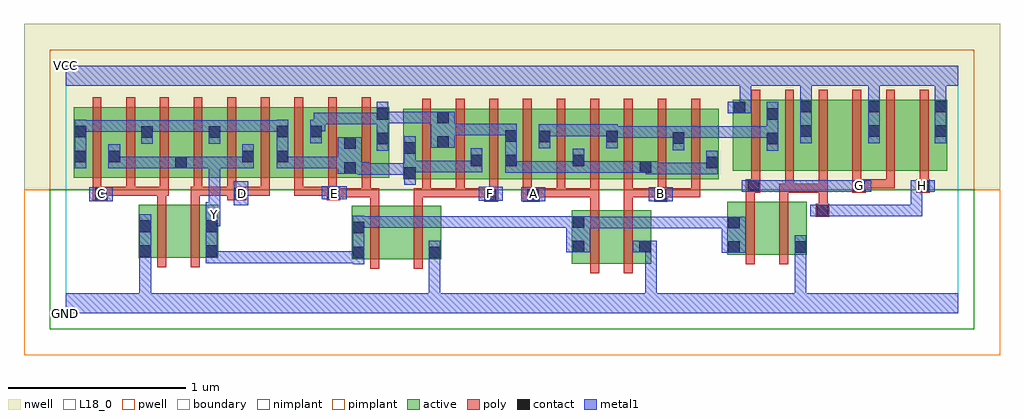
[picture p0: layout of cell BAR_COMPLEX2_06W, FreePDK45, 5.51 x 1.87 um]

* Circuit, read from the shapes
.subckt BAR_COMPLEX2_06W A B C D E F G GND H VCC Y
M1 n1 C GND VSUBS nfet w=0.3u l=0.05u
M2 Y D n1 VSUBS nfet w=0.3u l=0.05u
M3 n2 E Y VSUBS nfet w=0.3u l=0.05u
M4 GND F n2 VSUBS nfet w=0.3u l=0.05u
M5 n3 A Y VSUBS nfet w=0.3u l=0.05u
M6 GND B n3 VSUBS nfet w=0.3u l=0.05u
M7 n4 G Y VSUBS nfet w=0.3u l=0.05u
M8 GND H n4 VSUBS nfet w=0.3u l=0.05u
M9 Y C n5 n6 pfet w=0.4u l=0.05u m=3
M10 n5 D Y n6 pfet w=0.4u l=0.05u m=3
M11 n7 E n5 n6 pfet w=0.4u l=0.05u m=3
M12 n7 F n5 n6 pfet w=0.4u l=0.05u m=3
M13 n8 A n7 n6 pfet w=0.4u l=0.05u m=3
M14 n7 B n8 n6 pfet w=0.4u l=0.05u m=3
M15 n8 G VCC n6 pfet w=0.4u l=0.05u
M16 VCC H n8 n6 pfet w=0.4u l=0.05u
M17 n9 H VCC n6 pfet w=0.4u l=0.05u
M18 VCC G n9 n6 pfet w=0.4u l=0.05u
M19 n10 G VCC n6 pfet w=0.4u l=0.05u
M20 VCC H n10 n6 pfet w=0.4u l=0.05u
.ends

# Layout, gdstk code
import gdstk
lib = gdstk.Library(unit=1e-6, precision=1e-09)
def R(c, l, rs):  # rectangles x0, y0, x1, y1
    for r in rs: c.add(gdstk.rectangle(r[:2], r[2:], *l))
def A(c, l, x, y, w, h, nx, ny, dx, dy):  # array of equal rectangles
    R(c, l, [(x+i*dx, y+j*dy, x+i*dx+w, y+j*dy+h) for i in range(nx) for j in range(ny)])
active = (1, 0)
pwell = (2, 0)
nwell = (3, 0)
nimplant = (4, 0)
pimplant = (5, 0)
poly = (9, 0)
contact = (10, 0)
metal1 = (11, 0)
L18_0 = (18, 0)
boundary = (235, 0)

bar_complex2_06w = lib.new_cell('BAR_COMPLEX2_06W')
A(bar_complex2_06w, active, 2.477, 0.757, 0.265, 0.4, 3, 1, 0.19, 0)
R(bar_complex2_06w, active, [(2.857,0.282,3.082,0.582), (3.082,0.282,3.307,0.582), (3.232,0.282,3.307,0.582), (1.615,0.307,1.84,0.607), (1.615,0.307,1.69,0.607), (1.84,0.307,2.12,0.607), (2.045,0.307,2.12,0.607), (0.412,0.315,0.637,0.615), (0.412,0.315,0.487,0.615), (0.637,0.315,0.862,0.615), (0.787,0.315,0.862,0.615), (3.735,0.332,3.96,0.632), (3.735,0.332,3.81,0.632), (3.96,0.332,4.185,0.632), (4.11,0.337,4.185,0.632), (2.857,0.34,2.932,0.582), (1.907,0.757,2.167,1.157), (1.907,0.757,1.982,1.07), (2.092,0.757,2.357,1.157), (2.282,0.757,2.357,1.07), (2.282,0.757,2.552,1.157), (2.477,0.757,2.552,1.155), (2.857,0.757,2.932,1.07), (3.047,0.757,3.31,1.157), (3.235,0.757,3.497,1.157), (3.235,0.757,3.31,1.07), (3.422,0.757,3.687,1.157), (3.612,0.757,3.687,1.047), (0.047,0.765,0.312,1.165), (0.047,0.765,0.122,1.155), (0.237,0.765,0.497,1.165), (0.237,0.765,0.312,1.07), (0.422,0.765,0.69,1.165), (0.615,0.765,0.877,1.165), (0.615,0.765,0.69,1.07), (0.802,0.765,1.067,1.165), (0.992,0.765,1.262,1.165), (0.992,0.765,1.067,1.07), (1.187,0.765,1.452,1.165), (1.187,0.765,1.262,1.155), (1.377,0.765,1.642,1.165), (1.567,0.765,1.827,1.165), (1.752,0.765,1.827,1.165), (1.567,0.785,1.642,1.07), (3.767,0.807,4.027,1.207), (3.952,0.807,4.217,1.207), (4.142,0.807,4.372,1.207), (4.372,0.807,4.602,1.207), (4.527,0.807,4.752,1.207), (4.752,0.807,4.977,1.207), (4.902,0.807,4.977,1.207), (0.422,0.907,0.497,1.155), (0.802,0.907,0.877,1.155), (1.377,0.907,1.452,1.155), (2.092,0.907,2.167,1.155), (2.667,0.907,2.742,1.155), (3.047,0.907,3.122,1.155), (3.422,0.907,3.497,1.155), (3.767,0.907,3.842,1.207), (3.952,0.907,4.027,1.2), (4.142,0.907,4.217,1.207), (4.527,0.907,4.602,1.207)])
R(bar_complex2_06w, pwell, [(-0.235,-0.235,5.275,0.7)])
R(bar_complex2_06w, nwell, [(-0.235,0.7,5.275,1.635)])
R(bar_complex2_06w, nimplant, [(-0.09,-0.09,5.13,0.7)])
R(bar_complex2_06w, pimplant, [(-0.09,0.7,5.13,1.49)])
A(bar_complex2_06w, poly, 2.012, 0.657, 0.05, 0.095, 9, 1, 0.19, 0)
A(bar_complex2_06w, poly, 0.152, 0.665, 0.05, 0.095, 8, 1, 0.19, 0)
A(bar_complex2_06w, poly, 2.012, 0.702, 0.05, 0.51, 9, 1, 0.19, 0)
A(bar_complex2_06w, poly, 4.442, 0.707, 0.05, 0.095, 3, 1, 0.19, 0)
A(bar_complex2_06w, poly, 0.152, 0.71, 0.05, 0.51, 9, 1, 0.19, 0)
A(bar_complex2_06w, poly, 3.872, 0.752, 0.05, 0.51, 6, 1, 0.19, 0)
R(bar_complex2_06w, poly, [(2.962,0.227,3.012,0.637), (3.152,0.227,3.202,0.637), (1.72,0.252,1.77,0.662), (1.965,0.252,2.015,0.662), (0.517,0.26,0.567,0.67), (0.707,0.26,0.757,0.67), (3.84,0.277,3.89,0.687), (4.03,0.277,4.08,0.687), (4.235,0.545,4.31,0.62), (4.252,0.57,4.302,0.62), (4.252,0.57,4.302,0.62), (4.252,0.57,4.302,0.732), (2.962,0.587,3.012,0.707), (3.152,0.587,3.202,0.707), (1.72,0.612,1.77,0.707), (1.965,0.612,2.015,0.707), (0.517,0.62,0.567,0.715), (0.707,0.62,0.757,0.715), (2.362,0.632,2.442,0.707), (2.582,0.632,2.677,0.707), (3.322,0.632,3.397,0.707), (3.84,0.637,3.89,0.732), (4.03,0.637,4.08,0.732), (0.152,0.64,0.237,0.715), (0.912,0.64,1.02,0.715), (1.475,0.64,1.55,0.715), (1.5,0.657,1.722,0.707), (1.672,0.657,1.722,0.707), (1.672,0.657,1.722,0.707), (1.672,0.657,1.722,0.76), (1.672,0.657,1.77,0.707), (1.965,0.657,2.062,0.707), (2.012,0.657,2.062,0.707), (2.012,0.657,2.062,0.707), (2.012,0.657,2.252,0.707), (2.202,0.657,2.252,0.707), (2.202,0.657,2.252,0.707), (2.202,0.657,2.252,0.707), (2.202,0.657,2.412,0.707), (2.627,0.657,2.677,0.707), (2.627,0.657,2.677,0.707), (2.627,0.657,2.822,0.707), (2.772,0.657,2.822,0.707), (2.772,0.657,3.012,0.707), (2.962,0.657,3.012,0.707), (2.962,0.657,3.012,0.707), (2.962,0.657,3.012,0.707), (3.152,0.657,3.202,0.707), (3.152,0.657,3.202,0.707), (3.152,0.657,3.202,0.707), (3.152,0.657,3.372,0.707), (3.347,0.657,3.582,0.707), (3.532,0.657,3.582,0.707), (3.532,0.657,3.582,0.707), (3.532,0.657,3.582,0.707), (0.187,0.665,0.392,0.715), (0.342,0.665,0.392,0.715), (0.342,0.665,0.392,0.715), (0.342,0.665,0.392,0.715), (0.342,0.665,0.567,0.715), (0.517,0.665,0.567,0.715), (0.517,0.665,0.567,0.715), (0.517,0.665,0.582,0.715), (0.707,0.665,0.772,0.715), (0.722,0.665,0.772,0.715), (0.722,0.665,0.772,0.715), (0.722,0.665,0.962,0.715), (0.97,0.665,1.152,0.715), (1.102,0.665,1.152,0.715), (1.102,0.665,1.152,0.715), (1.102,0.665,1.152,0.715), (1.292,0.665,1.342,0.715), (1.292,0.665,1.342,0.715), (1.292,0.665,1.342,0.715), (1.292,0.665,1.525,0.715), (3.84,0.682,3.922,0.757), (4.03,0.682,4.112,0.732), (4.062,0.682,4.112,0.802), (4.062,0.682,4.302,0.732), (4.252,0.682,4.302,0.732), (4.252,0.682,4.302,0.732), (4.252,0.682,4.302,0.732), (4.252,0.682,4.302,0.802), (4.442,0.682,4.517,0.757), (4.802,0.682,4.877,0.757), (3.872,0.707,3.922,0.802), (4.467,0.707,4.682,0.757), (4.467,0.707,4.517,0.757), (4.467,0.707,4.517,0.757), (4.632,0.707,4.682,0.757)])
R(bar_complex2_06w, contact, [(1.62,0.312,1.685,0.377), (2.05,0.312,2.115,0.377), (0.417,0.32,0.482,0.385), (0.792,0.32,0.857,0.385), (3.74,0.342,3.805,0.407), (4.115,0.342,4.18,0.407), (2.862,0.345,2.927,0.41), (3.237,0.345,3.302,0.41), (1.62,0.452,1.685,0.517), (0.417,0.46,0.482,0.525), (0.792,0.46,0.857,0.525), (3.74,0.482,3.805,0.547), (2.862,0.485,2.927,0.55), (4.24,0.55,4.305,0.615), (2.367,0.637,2.432,0.702), (2.607,0.637,2.672,0.702), (3.327,0.637,3.392,0.702), (0.167,0.645,0.232,0.71), (0.95,0.645,1.015,0.71), (1.48,0.645,1.545,0.71), (3.852,0.687,3.917,0.752), (4.447,0.687,4.512,0.752), (4.807,0.687,4.872,0.752), (1.912,0.762,1.977,0.827), (1.572,0.79,1.637,0.855), (3.24,0.795,3.305,0.86), (0.62,0.82,0.685,0.885), (3.617,0.82,3.682,0.885), (2.482,0.83,2.547,0.895), (2.862,0.83,2.927,0.895), (2.287,0.832,2.352,0.897), (0.052,0.855,0.117,0.92), (0.242,0.855,0.307,0.92), (0.997,0.855,1.062,0.92), (1.192,0.855,1.257,0.92), (1.912,0.902,1.977,0.967), (1.572,0.93,1.637,0.995), (2.097,0.935,2.162,1), (1.757,0.955,1.822,1.02), (3.957,0.955,4.022,1.02), (3.427,0.957,3.492,1.022), (2.672,0.967,2.737,1.032), (3.052,0.967,3.117,1.032), (2.482,0.97,2.547,1.035), (0.427,0.992,0.492,1.057), (0.807,0.992,0.872,1.057), (0.052,0.995,0.117,1.06), (1.192,0.995,1.257,1.06), (1.382,0.995,1.447,1.06), (4.147,0.997,4.212,1.062), (4.532,0.997,4.597,1.062), (4.907,0.997,4.972,1.062), (2.097,1.075,2.162,1.14), (1.757,1.095,1.822,1.16), (3.957,1.095,4.022,1.16), (3.772,1.13,3.837,1.195), (4.147,1.137,4.212,1.202), (4.532,1.137,4.597,1.202), (4.907,1.137,4.972,1.202)])
R(bar_complex2_06w, metal1, [(0,0,5.04,0.115), (0.417,0.05,0.482,0.115), (0.417,0.05,0.482,0.115), (0.417,0.05,0.482,0.115), (0.417,0.05,0.482,0.115), (0.417,0.05,0.482,0.35), (2.05,0.05,2.115,0.115), (2.05,0.05,2.115,0.115), (2.05,0.05,2.115,0.342), (3.272,0.05,3.337,0.41), (4.115,0.05,4.18,0.115), (4.115,0.05,4.18,0.115), (4.115,0.05,4.18,0.115), (4.115,0.05,4.18,0.115), (4.115,0.05,4.18,0.372), (1.62,0.277,1.685,0.552), (2.05,0.277,2.115,0.342), (2.05,0.277,2.115,0.342), (2.05,0.277,2.115,0.412), (0.417,0.285,0.482,0.56), (0.792,0.285,0.857,0.56), (0.792,0.285,0.857,0.35), (0.792,0.285,0.857,0.35), (0.792,0.285,1.12,0.35), (1.055,0.285,1.12,0.35), (1.055,0.285,1.12,0.35), (1.055,0.285,1.12,0.35), (1.055,0.285,1.257,0.35), (1.192,0.285,1.257,0.35), (1.192,0.285,1.257,0.35), (1.192,0.285,1.257,0.35), (1.192,0.285,1.395,0.35), (1.33,0.285,1.395,0.35), (1.33,0.285,1.577,0.35), (1.512,0.285,1.577,0.35), (1.512,0.285,1.685,0.35), (4.115,0.307,4.18,0.442), (3.705,0.342,3.84,0.547), (2.827,0.345,2.962,0.55), (3.202,0.345,3.337,0.41), (3.272,0.345,3.337,0.41), (3.272,0.345,3.337,0.41), (3.272,0.345,3.337,0.41), (3.272,0.345,3.337,0.41), (2.897,0.482,2.962,0.547), (2.897,0.482,2.962,0.547), (2.897,0.482,3.13,0.547), (3.065,0.482,3.13,0.547), (3.065,0.482,3.13,0.547), (3.065,0.482,3.13,0.547), (3.065,0.482,3.34,0.547), (3.275,0.482,3.34,0.547), (3.275,0.482,3.34,0.547), (3.275,0.482,3.34,0.547), (3.275,0.482,3.492,0.547), (3.427,0.482,3.492,0.547), (3.427,0.482,3.63,0.547), (3.565,0.482,3.63,0.547), (3.565,0.482,3.63,0.547), (3.565,0.482,3.63,0.547), (3.565,0.482,3.77,0.547), (1.62,0.485,1.822,0.55), (1.757,0.485,1.822,0.55), (1.757,0.485,1.822,0.55), (1.757,0.485,1.822,0.55), (1.757,0.485,1.977,0.55), (1.912,0.485,1.977,0.55), (1.912,0.485,1.977,0.55), (1.912,0.485,1.977,0.55), (1.912,0.485,2.215,0.55), (2.15,0.485,2.215,0.55), (2.15,0.485,2.215,0.55), (2.15,0.485,2.215,0.55), (2.15,0.485,2.41,0.55), (2.345,0.485,2.41,0.55), (2.345,0.485,2.41,0.55), (2.345,0.485,2.41,0.55), (2.345,0.485,2.547,0.55), (2.482,0.485,2.547,0.55), (2.482,0.485,2.547,0.55), (2.482,0.485,2.547,0.55), (2.482,0.485,2.685,0.55), (2.62,0.485,2.685,0.55), (2.62,0.485,2.825,0.55), (2.76,0.485,2.825,0.55), (2.76,0.485,2.892,0.55), (0.792,0.492,0.857,0.557), (0.792,0.492,0.872,0.627), (4.205,0.55,4.34,0.615), (4.275,0.55,4.407,0.615), (4.342,0.55,4.407,0.615), (4.342,0.55,4.407,0.615), (4.342,0.55,4.407,0.615), (4.342,0.55,4.51,0.615), (4.445,0.55,4.51,0.615), (4.445,0.55,4.647,0.615), (4.582,0.55,4.647,0.615), (4.582,0.55,4.647,0.615), (4.582,0.55,4.647,0.615), (4.582,0.55,4.835,0.615), (4.77,0.55,4.835,0.752), (4.77,0.55,4.835,0.615), (0.807,0.562,0.872,0.885), (0.95,0.61,1.032,0.747), (0.132,0.635,0.267,0.712), (2.572,0.635,2.707,0.712), (3.292,0.635,3.427,0.712), (2.332,0.637,2.467,0.715), (1.445,0.645,1.587,0.717), (3.817,0.687,3.952,0.752), (3.887,0.687,3.957,0.752), (3.892,0.687,3.957,0.752), (3.892,0.687,4.132,0.752), (4.067,0.687,4.132,0.752), (4.067,0.687,4.27,0.752), (4.205,0.687,4.27,0.752), (4.205,0.687,4.27,0.752), (4.205,0.687,4.27,0.752), (4.205,0.687,4.407,0.752), (4.342,0.687,4.477,0.752), (4.342,0.687,4.407,0.752), (4.412,0.687,4.547,0.752), (4.77,0.687,4.837,0.752), (4.77,0.687,4.835,0.752), (4.772,0.687,4.907,0.752), (1.912,0.727,1.977,1.002), (1.65,0.782,1.822,0.847), (1.65,0.782,1.715,0.855), (1.757,0.782,1.822,0.847), (1.757,0.782,1.977,0.847), (3.275,0.785,3.477,0.85), (3.275,0.785,3.34,0.86), (3.412,0.785,3.477,0.85), (3.412,0.785,3.477,0.85), (3.412,0.785,3.477,0.85), (3.412,0.785,3.682,0.85), (3.617,0.785,3.682,0.92), (1.537,0.79,1.672,0.995), (1.607,0.79,1.715,0.855), (2.482,0.795,2.547,1.07), (2.482,0.795,2.547,0.86), (2.482,0.795,2.547,0.86), (2.482,0.795,2.687,0.86), (2.622,0.795,2.687,0.86), (2.622,0.795,2.687,0.86), (2.622,0.795,2.687,0.86), (2.622,0.795,2.825,0.86), (2.76,0.795,2.825,0.86), (2.76,0.795,2.927,0.86), (2.862,0.795,2.927,0.93), (2.862,0.795,2.962,0.86), (2.897,0.795,2.962,0.86), (2.897,0.795,3.13,0.86), (3.065,0.795,3.13,0.86), (3.065,0.795,3.13,0.86), (3.065,0.795,3.13,0.86), (3.065,0.795,3.27,0.86), (3.205,0.795,3.34,0.86), (3.275,0.795,3.34,0.86), (1.912,0.797,1.977,0.862), (1.912,0.797,1.977,0.862), (1.912,0.797,2.115,0.862), (2.05,0.797,2.115,0.862), (2.05,0.797,2.115,0.862), (2.05,0.797,2.115,0.862), (2.05,0.797,2.352,0.862), (2.287,0.797,2.352,0.932), (0.052,0.82,0.117,1.095), (0.242,0.82,0.307,0.885), (0.242,0.82,0.307,0.885), (0.242,0.82,0.307,0.955), (0.242,0.82,0.512,0.885), (0.447,0.82,0.512,0.885), (0.447,0.82,0.512,0.885), (0.447,0.82,0.512,0.885), (0.447,0.82,0.65,0.885), (0.585,0.82,0.72,0.885), (0.655,0.82,0.72,0.885), (0.655,0.82,0.72,0.885), (0.655,0.82,0.872,0.885), (0.807,0.82,0.872,0.885), (0.807,0.82,0.872,0.885), (0.807,0.82,0.872,0.885), (0.807,0.82,1.062,0.885), (0.997,0.82,1.062,0.955), (1.192,0.82,1.257,1.095), (1.192,0.82,1.257,0.885), (1.192,0.82,1.257,0.885), (1.192,0.82,1.257,0.885), (1.192,0.82,1.257,0.885), (1.192,0.82,1.395,0.885), (1.33,0.82,1.395,0.885), (1.33,0.82,1.577,0.885), (1.512,0.82,1.577,0.885), (1.512,0.82,1.602,0.885), (1.757,0.92,1.822,1.195), (3.957,0.92,4.022,1.195), (3.427,0.922,3.492,1.057), (2.672,0.932,2.737,1.067), (3.052,0.932,3.117,1.067), (2.062,0.935,2.197,1.14), (0.427,0.957,0.492,1.092), (0.807,0.957,0.872,1.092), (1.382,0.96,1.447,1.095), (4.147,0.962,4.212,1.237), (4.532,0.962,4.597,1.237), (4.907,0.962,4.972,1.237), (3.052,0.992,3.117,1.057), (3.052,0.992,3.117,1.057), (3.052,0.992,3.267,1.057), (3.202,0.992,3.267,1.057), (3.202,0.992,3.267,1.057), (3.202,0.992,3.267,1.057), (3.202,0.992,3.492,1.057), (3.427,0.992,3.492,1.057), (3.427,0.992,3.492,1.057), (3.427,0.992,3.63,1.057), (3.565,0.992,3.63,1.057), (3.565,0.992,3.82,1.057), (3.755,0.992,3.82,1.057), (3.755,0.992,3.82,1.057), (3.755,0.992,3.82,1.057), (3.755,0.992,3.82,1.057), (3.755,0.992,3.82,1.057), (3.755,0.992,4.022,1.057), (2.672,1.002,2.825,1.067), (2.76,1.002,2.825,1.067), (2.76,1.002,2.98,1.067), (2.915,1.002,2.98,1.067), (2.915,1.002,2.98,1.067), (2.915,1.002,2.98,1.067), (2.915,1.002,3.117,1.067), (2.132,1.005,2.197,1.07), (2.132,1.005,2.197,1.07), (2.132,1.005,2.41,1.07), (2.345,1.005,2.41,1.07), (2.345,1.005,2.41,1.07), (2.345,1.005,2.41,1.07), (2.345,1.005,2.547,1.07), (0.052,1.027,0.117,1.092), (0.052,1.027,0.117,1.092), (0.052,1.027,0.345,1.092), (0.28,1.027,0.345,1.092), (0.28,1.027,0.345,1.092), (0.28,1.027,0.345,1.092), (0.28,1.027,0.492,1.092), (0.427,1.027,0.492,1.092), (0.427,1.027,0.492,1.092), (0.427,1.027,0.69,1.092), (0.625,1.027,0.69,1.092), (0.625,1.027,0.69,1.092), (0.625,1.027,0.69,1.092), (0.625,1.027,0.872,1.092), (0.807,1.027,0.872,1.092), (0.807,1.027,0.872,1.092), (0.807,1.027,1.01,1.092), (0.945,1.027,1.01,1.092), (0.945,1.027,1.12,1.092), (1.055,1.027,1.12,1.092), (1.055,1.027,1.257,1.092), (1.382,1.03,1.465,1.095), (1.4,1.03,1.465,1.132), (1.4,1.067,1.685,1.132), (1.62,1.067,1.685,1.132), (1.62,1.067,1.822,1.132), (1.757,1.067,1.822,1.132), (1.757,1.067,1.822,1.132), (1.757,1.075,1.96,1.14), (1.895,1.075,1.96,1.14), (1.895,1.075,1.96,1.14), (1.895,1.075,1.96,1.14), (1.895,1.075,2.127,1.14), (3.737,1.13,3.872,1.195), (3.807,1.13,3.872,1.35), (4.147,1.172,4.212,1.35), (4.532,1.172,4.597,1.35), (4.907,1.172,4.972,1.35), (0,1.285,5.04,1.4)])
R(bar_complex2_06w, L18_0, [(0,0,5.04,0.115), (0.417,0.05,0.482,0.115), (0.417,0.05,0.482,0.115), (0.417,0.05,0.482,0.115), (0.417,0.05,0.482,0.115), (0.417,0.05,0.482,0.35), (2.05,0.05,2.115,0.115), (2.05,0.05,2.115,0.115), (2.05,0.05,2.115,0.342), (3.272,0.05,3.337,0.41), (4.115,0.05,4.18,0.115), (4.115,0.05,4.18,0.115), (4.115,0.05,4.18,0.115), (4.115,0.05,4.18,0.115), (4.115,0.05,4.18,0.372), (1.62,0.277,1.685,0.552), (2.05,0.277,2.115,0.412), (2.05,0.277,2.115,0.342), (2.05,0.277,2.115,0.342), (0.417,0.285,0.482,0.56), (0.792,0.285,0.857,0.35), (0.792,0.285,0.857,0.35), (0.792,0.285,0.857,0.56), (0.792,0.285,1.12,0.35), (1.055,0.285,1.12,0.35), (1.055,0.285,1.12,0.35), (1.055,0.285,1.12,0.35), (1.055,0.285,1.257,0.35), (1.192,0.285,1.257,0.35), (1.192,0.285,1.257,0.35), (1.192,0.285,1.257,0.35), (1.192,0.285,1.395,0.35), (1.33,0.285,1.395,0.35), (1.33,0.285,1.577,0.35), (1.512,0.285,1.577,0.35), (1.512,0.285,1.685,0.35), (4.115,0.307,4.18,0.442), (3.705,0.342,3.84,0.547), (2.827,0.345,2.962,0.55), (3.202,0.345,3.337,0.41), (3.272,0.345,3.337,0.41), (3.272,0.345,3.337,0.41), (3.272,0.345,3.337,0.41), (3.272,0.345,3.337,0.41), (2.897,0.482,2.962,0.547), (2.897,0.482,2.962,0.547), (2.897,0.482,3.13,0.547), (3.065,0.482,3.13,0.547), (3.065,0.482,3.13,0.547), (3.065,0.482,3.13,0.547), (3.065,0.482,3.34,0.547), (3.275,0.482,3.34,0.547), (3.275,0.482,3.34,0.547), (3.275,0.482,3.34,0.547), (3.275,0.482,3.492,0.547), (3.427,0.482,3.492,0.547), (3.427,0.482,3.63,0.547), (3.565,0.482,3.63,0.547), (3.565,0.482,3.63,0.547), (3.565,0.482,3.63,0.547), (3.565,0.482,3.77,0.547), (1.62,0.485,1.822,0.55), (1.757,0.485,1.822,0.55), (1.757,0.485,1.822,0.55), (1.757,0.485,1.822,0.55), (1.757,0.485,1.977,0.55), (1.912,0.485,1.977,0.55), (1.912,0.485,1.977,0.55), (1.912,0.485,1.977,0.55), (1.912,0.485,2.215,0.55), (2.15,0.485,2.215,0.55), (2.15,0.485,2.215,0.55), (2.15,0.485,2.215,0.55), (2.15,0.485,2.41,0.55), (2.345,0.485,2.41,0.55), (2.345,0.485,2.41,0.55), (2.345,0.485,2.41,0.55), (2.345,0.485,2.547,0.55), (2.482,0.485,2.547,0.55), (2.482,0.485,2.547,0.55), (2.482,0.485,2.547,0.55), (2.482,0.485,2.685,0.55), (2.62,0.485,2.685,0.55), (2.62,0.485,2.825,0.55), (2.76,0.485,2.825,0.55), (2.76,0.485,2.892,0.55), (0.792,0.492,0.857,0.557), (0.792,0.492,0.872,0.627), (0.807,0.527,0.872,0.592), (4.205,0.55,4.34,0.615), (4.275,0.55,4.407,0.615), (4.342,0.55,4.407,0.615), (4.342,0.55,4.407,0.615), (4.342,0.55,4.407,0.615), (4.342,0.55,4.51,0.615), (4.445,0.55,4.51,0.615), (4.445,0.55,4.647,0.615), (4.582,0.55,4.647,0.615), (4.582,0.55,4.647,0.615), (4.582,0.55,4.647,0.615), (4.582,0.55,4.835,0.615), (4.77,0.55,4.835,0.615), (4.77,0.55,4.835,0.752), (0.807,0.562,0.872,0.885), (0.95,0.61,1.032,0.747), (0.132,0.635,0.267,0.712), (2.572,0.635,2.707,0.712), (3.292,0.635,3.427,0.712), (2.332,0.637,2.467,0.715), (1.445,0.645,1.587,0.717), (0.167,0.647,0.232,0.712), (0.967,0.647,1.032,0.712), (1.487,0.647,1.552,0.712), (2.367,0.647,2.432,0.712), (2.607,0.647,2.672,0.712), (3.327,0.647,3.392,0.712), (3.817,0.687,3.952,0.752), (3.887,0.687,3.957,0.752), (3.892,0.687,3.957,0.752), (3.892,0.687,4.132,0.752), (4.067,0.687,4.132,0.752), (4.067,0.687,4.27,0.752), (4.205,0.687,4.27,0.752), (4.205,0.687,4.27,0.752), (4.205,0.687,4.27,0.752), (4.205,0.687,4.407,0.752), (4.342,0.687,4.407,0.752), (4.342,0.687,4.477,0.752), (4.412,0.687,4.547,0.752), (4.447,0.687,4.512,0.752), (4.77,0.687,4.835,0.752), (4.77,0.687,4.837,0.752), (4.772,0.687,4.907,0.752), (4.807,0.687,4.872,0.752), (0.242,0.82,0.307,0.955), (0.242,0.82,0.307,0.885), (0.242,0.82,0.307,0.885), (0.242,0.82,0.512,0.885), (0.447,0.82,0.512,0.885), (0.447,0.82,0.512,0.885), (0.447,0.82,0.512,0.885), (0.447,0.82,0.65,0.885), (0.585,0.82,0.72,0.885), (0.655,0.82,0.72,0.885), (0.655,0.82,0.72,0.885), (0.655,0.82,0.872,0.885), (0.807,0.82,0.872,0.885), (0.807,0.82,0.872,0.885), (0.807,0.82,0.872,0.885), (0.807,0.82,1.062,0.885), (0.997,0.82,1.062,0.955), (4.147,0.962,4.212,1.237), (4.532,0.962,4.597,1.237), (4.907,0.962,4.972,1.237), (3.737,1.13,3.872,1.195), (3.807,1.13,3.872,1.35), (4.147,1.172,4.212,1.35), (4.532,1.172,4.597,1.35), (4.907,1.172,4.972,1.35), (0,1.285,5.04,1.4)])
R(bar_complex2_06w, boundary, [(0,0,5.04,1.4)])
bar_complex2_06w.add(gdstk.Label('A', (2.64,0.68), layer=11, texttype=0))
bar_complex2_06w.add(gdstk.Label('B', (3.36,0.68), layer=11, texttype=0))
bar_complex2_06w.add(gdstk.Label('C', (0.2,0.68), layer=11, texttype=0))
bar_complex2_06w.add(gdstk.Label('D', (1,0.68), layer=11, texttype=0))
bar_complex2_06w.add(gdstk.Label('E', (1.52,0.68), layer=11, texttype=0))
bar_complex2_06w.add(gdstk.Label('F', (2.4,0.68), layer=11, texttype=0))
bar_complex2_06w.add(gdstk.Label('G', (4.48,0.72), layer=11, texttype=0))
bar_complex2_06w.add(gdstk.Label('H', (4.84,0.72), layer=11, texttype=0))
bar_complex2_06w.add(gdstk.Label('Y', (0.84,0.56), layer=11, texttype=0))
bar_complex2_06w.add(gdstk.Label('VCC', (0,1.4), layer=11, texttype=0))
bar_complex2_06w.add(gdstk.Label('GND', (0,0), layer=11, texttype=0))

lib.write_gds('BAR_COMPLEX2_06W.gds')
